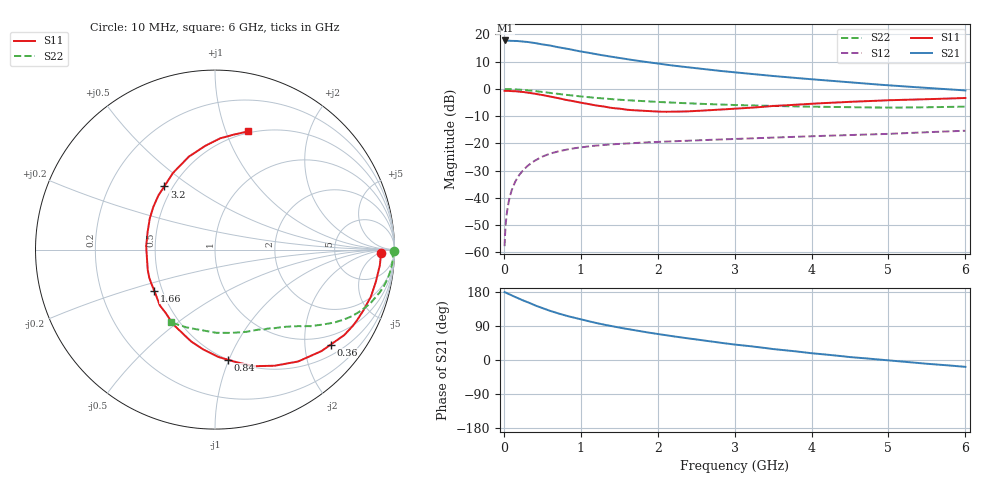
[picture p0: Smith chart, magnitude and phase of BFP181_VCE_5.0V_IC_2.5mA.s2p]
! Infineon Technologies  Discrete & RF Semiconductors
! BFP181
! VCE = 5.0 V,  IC =  2.5 mA
! Common Emitter S-Parameters:  Jan 2016
# GHz  S  MA  R  50
!  f  S11  S21  S12  S22
! GHz  MAG  ANG  MAG  ANG  MAG  ANG  MAG  ANG
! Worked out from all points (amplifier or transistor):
!   210 points, 10 MHz to 6 GHz, reference 50 ohm
!   highest |S21| = 17.8 dB at 20 MHz (marker M1)
!   |S21| within 3 dB of that: start of sweep to 816.8 MHz
!   unconditionally stable (mu >= 1): 2.318 GHz to end of sweep
!   at 185 MHz: K = 0.11, MSG = 24.9 dB, |S12| = -32.2 dB
!   at 1.52 GHz: K = 0.74, MSG = 15.7 dB, |S12| = -20.2 dB
!   at 6 GHz: K = 1.12, MAG = 5.3 dB, |S12| = -15.3 dB
!   S11 on the Smith chart (normalised r, x): 10 MHz: 23, -7; 360 MHz: 0.75, -2.60; 840 MHz: 0.50, -0.99; 1.66 GHz: 0.45, -0.25; 3.2 GHz: 0.45, +0.40; 6 GHz: 0.48, +1.19
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0.01  0.9235 -1.3  7.741 179.0  0.0013 82.2  0.9954 -0.4
0.02  0.9242 -2.5  7.772 178.5  0.0027 86.5  0.9874 -1.0
0.055  0.9212 -6.1  7.727 174.9  0.0074 90.8  0.9925 -2.8
0.115  0.911 -12.9  7.628 169.5  0.0155 81.9  0.9868 -5.9
0.15  0.9073 -16.8  7.652 166.1  0.0201 79.5  0.982 -7.7
0.24  0.8832 -26.8  7.421 158.1  0.0308 73.8  0.9636 -12.0
0.3  0.8632 -33.5  7.338 153.4  0.0378 70.1  0.9475 -14.7
0.36  0.834 -39.4  7.108 148.2  0.0439 66.5  0.9283 -17.2
0.42  0.8092 -45.5  6.898 143.0  0.0498 63.4  0.9097 -19.7
0.6  0.7274 -62.8  6.279 129.8  0.065 54.9  0.8494 -25.9
0.7  0.6839 -71.8  5.861 123.4  0.0712 50.8  0.814 -28.7
0.84  0.6179 -83.3  5.415 115.3  0.0782 46.0  0.7717 -31.9
1.02  0.5536 -98.1  4.824 106.0  0.0855 41.3  0.7251 -35.3
1.3  0.4767 -119.5  4.114 93.4  0.0939 35.5  0.6676 -39.7
1.66  0.409 -146.0  3.423 79.9  0.1008 31.1  0.6134 -44.2
2.02  0.3832 -170.7  2.9 68.0  0.107 27.7  0.5765 -48.5
2.4  0.3881 165.2  2.495 56.9  0.1127 25.2  0.5468 -53.4
3.1  0.4429 132.5  1.962 38.7  0.122 22.1  0.5026 -63.2
3.2  0.4514 128.8  1.899 36.5  0.1236 21.7  0.4987 -64.8
4.1  0.5451 103.5  1.467 16.1  0.137 18.1  0.4699 -80.8
5.1  0.6257 86.0  1.141 -2.8  0.152 15.0  0.4556 -101.7
6  0.6825 74.6  0.94 -18.1  0.1711 11.2  0.4737 -121.1
